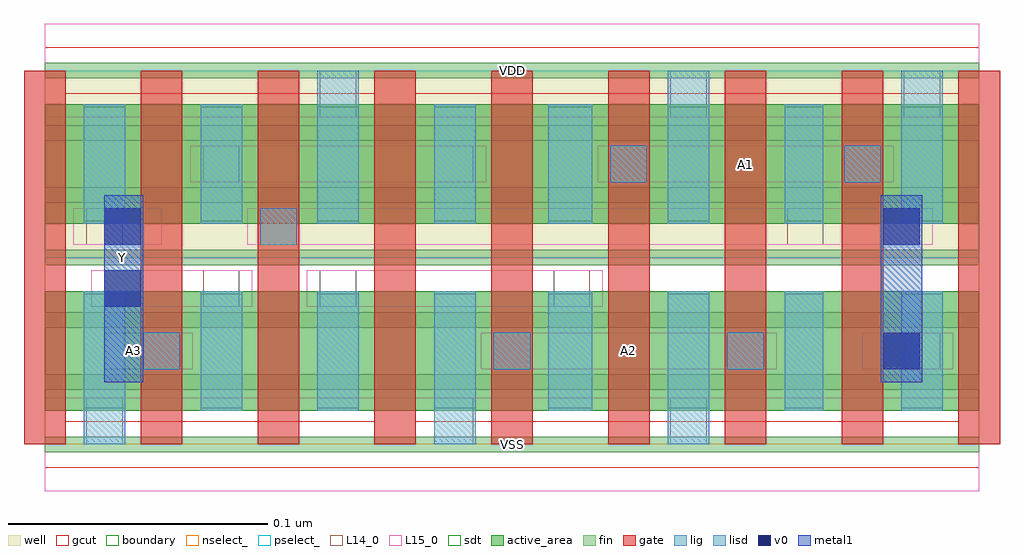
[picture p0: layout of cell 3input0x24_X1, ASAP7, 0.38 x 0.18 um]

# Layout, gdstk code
import gdstk
lib = gdstk.Library(unit=1e-6, precision=1e-09)
def R(c, l, rs):  # rectangles x0, y0, x1, y1
    for r in rs: c.add(gdstk.rectangle(r[:2], r[2:], *l))
def A(c, l, x, y, w, h, nx, ny, dx, dy):  # array of equal rectangles
    R(c, l, [(x+i*dx, y+j*dy, x+i*dx+w, y+j*dy+h) for i in range(nx) for j in range(ny)])
def P(c, l, *ps):  # polygons
    for p in ps: c.add(gdstk.Polygon(p, *l))
well = (1, 0)
fin = (2, 0)
gate = (7, 0)
gcut = (10, 0)
active_area = (11, 0)
nselect_ = (12, 0)
pselect_ = (13, 0)
L14_0 = (14, 0)
L15_0 = (15, 0)
lig = (16, 0)
lisd = (17, 0)
v0 = (18, 0)
metal1 = (19, 0)
sdt = (88, 0)
boundary = (100, 0)

c_3input0x24_x1 = lib.new_cell('3input0x24_X1')
R(c_3input0x24_x1, well, [(0,0.072,0.36,0.144)])
A(c_3input0x24_x1, fin, 0, -0.003, 0.36, 0.006, 1, 7, 0, 0.024)
A(c_3input0x24_x1, gate, -0.008, 0, 0.016, 0.144, 9, 1, 0.045, 0)
P(c_3input0x24_x1, gcut, [(0,-0.009),(0,0),(-0.008,0),(-0.008,0.135),(0.008,0.135),(0.008,0.009),(0.127,0.009),(0.127,0.135),(0.143,0.135),(0.143,0.009),(0.352,0.009),(0.352,0.135),(-0.008,0.135),(-0.008,0.144),(0,0.144),(0,0.153),(0.36,0.153),(0.36,0.144),(0.368,0.144),(0.368,0),(0.36,0),(0.36,-0.009)])
R(c_3input0x24_x1, active_area, [(0,0.013,0.36,0.059), (0,0.085,0.36,0.131)])
R(c_3input0x24_x1, nselect_, [(0,0,0.36,0.072)])
R(c_3input0x24_x1, pselect_, [(0,0.072,0.36,0.144)])
R(c_3input0x24_x1, L14_0, [(0.016,0,0.03,0.018), (0.15,0,0.165,0.018), (0.241,0,0.255,0.018), (0.038,0.029,0.052,0.043), (0.173,0.029,0.187,0.043), (0.263,0.029,0.277,0.043), (0.331,0.029,0.345,0.043), (0.061,0.053,0.075,0.067), (0.106,0.053,0.12,0.067), (0.196,0.053,0.21,0.067), (0.016,0.077,0.03,0.091), (0.083,0.077,0.097,0.091), (0.286,0.077,0.3,0.091), (0.061,0.101,0.075,0.115), (0.15,0.101,0.165,0.115), (0.218,0.101,0.232,0.115), (0.308,0.101,0.322,0.115), (0.106,0.126,0.12,0.144), (0.241,0.126,0.255,0.144), (0.331,0.126,0.345,0.144)])
R(c_3input0x24_x1, L15_0, [(0,-0.018,0.36,0.018), (0.023,0.029,0.057,0.043), (0.168,0.029,0.282,0.043), (0.315,0.029,0.35,0.043), (0.018,0.053,0.08,0.067), (0.101,0.053,0.215,0.067), (0.011,0.077,0.045,0.091), (0.078,0.077,0.342,0.091), (0.056,0.101,0.17,0.115), (0.213,0.101,0.327,0.115), (0,0.126,0.36,0.162)])
R(c_3input0x24_x1, lig, [(0.038,0.029,0.052,0.043), (0.173,0.029,0.187,0.043), (0.263,0.029,0.277,0.043), (0.083,0.077,0.097,0.091), (0.218,0.101,0.232,0.115), (0.308,0.101,0.322,0.115)])
R(c_3input0x24_x1, lisd, [(0.015,0,0.031,0.059), (0.15,0,0.166,0.059), (0.24,0,0.256,0.059), (0.06,0.013,0.076,0.059), (0.105,0.013,0.121,0.059), (0.194,0.013,0.211,0.059), (0.285,0.013,0.3,0.059), (0.33,0.013,0.346,0.059), (0.015,0.085,0.031,0.131), (0.06,0.085,0.076,0.131), (0.105,0.085,0.121,0.144), (0.15,0.085,0.166,0.131), (0.194,0.085,0.211,0.131), (0.24,0.085,0.256,0.144), (0.285,0.085,0.3,0.131), (0.33,0.085,0.346,0.144)])
R(c_3input0x24_x1, v0, [(0.323,0.029,0.337,0.043), (0.023,0.053,0.037,0.067), (0.023,0.077,0.037,0.091), (0.323,0.077,0.337,0.091)])
R(c_3input0x24_x1, metal1, [(0.023,0.024,0.038,0.096), (0.322,0.024,0.338,0.096)])
A(c_3input0x24_x1, sdt, 0.015, 0.014, 0.016, 0.044, 4, 2, 0.045, 0.072)
R(c_3input0x24_x1, sdt, [(0.194,0.014,0.211,0.058), (0.24,0.014,0.256,0.058), (0.285,0.014,0.3,0.058), (0.33,0.014,0.346,0.058), (0.194,0.086,0.211,0.13), (0.24,0.086,0.256,0.13), (0.285,0.086,0.3,0.13), (0.33,0.086,0.346,0.13)])
R(c_3input0x24_x1, boundary, [(0,0,0.36,0.144)])
c_3input0x24_x1.add(gdstk.Label('A2', (0.225,0.036), layer=15, texttype=251))
c_3input0x24_x1.add(gdstk.Label('VSS', (0.18,0), layer=15, texttype=251))
c_3input0x24_x1.add(gdstk.Label('VDD', (0.18,0.144), layer=15, texttype=251))
c_3input0x24_x1.add(gdstk.Label('A3', (0.034,0.036), layer=15, texttype=251))
c_3input0x24_x1.add(gdstk.Label('VSS', (0.18,0), layer=15, texttype=251))
c_3input0x24_x1.add(gdstk.Label('VDD', (0.18,0.144), layer=15, texttype=251))
c_3input0x24_x1.add(gdstk.Label('VSS', (0.18,0), layer=15, texttype=251))
c_3input0x24_x1.add(gdstk.Label('VDD', (0.18,0.144), layer=15, texttype=251))
c_3input0x24_x1.add(gdstk.Label('A1', (0.27,0.108), layer=15, texttype=251))
c_3input0x24_x1.add(gdstk.Label('VSS', (0.18,0), layer=15, texttype=251))
c_3input0x24_x1.add(gdstk.Label('VDD', (0.18,0.144), layer=15, texttype=251))
c_3input0x24_x1.add(gdstk.Label('VSS', (0.18,0), layer=3, texttype=251))
c_3input0x24_x1.add(gdstk.Label('VSS', (0.18,0), layer=3, texttype=251))
c_3input0x24_x1.add(gdstk.Label('VSS', (0.18,0), layer=3, texttype=251))
c_3input0x24_x1.add(gdstk.Label('VSS', (0.18,0), layer=3, texttype=251))
c_3input0x24_x1.add(gdstk.Label('VDD', (0.18,0.144), layer=1, texttype=251))
c_3input0x24_x1.add(gdstk.Label('VDD', (0.18,0.144), layer=1, texttype=251))
c_3input0x24_x1.add(gdstk.Label('VDD', (0.18,0.144), layer=1, texttype=251))
c_3input0x24_x1.add(gdstk.Label('VDD', (0.18,0.144), layer=1, texttype=251))
c_3input0x24_x1.add(gdstk.Label('Y', (0.03,0.072), layer=19, texttype=251))

lib.write_gds('3input0x24_X1.gds')
